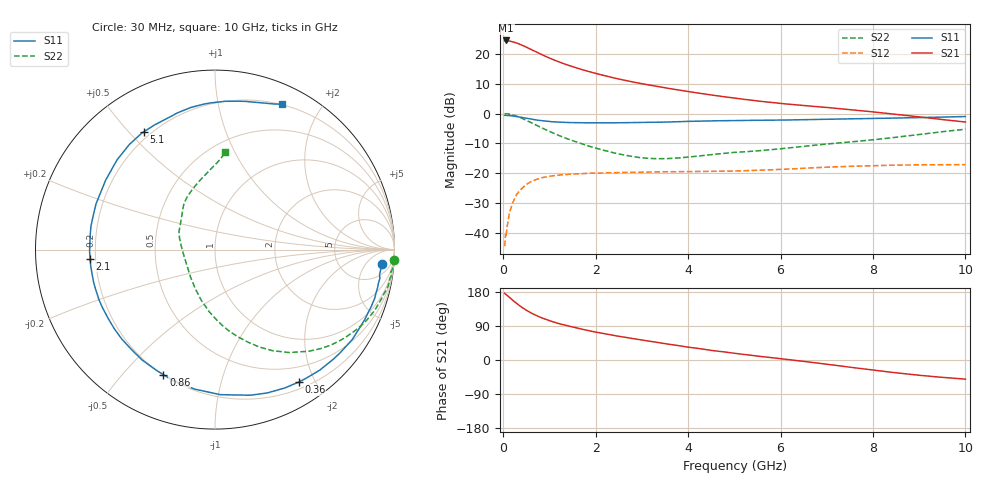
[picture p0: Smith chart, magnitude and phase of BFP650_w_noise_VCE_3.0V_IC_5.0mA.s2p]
! Infineon Technologies  Discrete & RF Semiconductors
! BFP650
! VCE =  3.0 V,  IC =  5.0 mA
! Common Emitter S-Parameters:  Jan 2016
# GHz  S  MA  R  50
!  f  S11  S21  S12  S22
! GHz  MAG  ANG  MAG  ANG  MAG  ANG  MAG  ANG
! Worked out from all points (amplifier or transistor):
!   229 points, 30 MHz to 10 GHz, reference 50 ohm
!   highest |S21| = 24.4 dB at 60 MHz (marker M1)
!   |S21| within 3 dB of that: start of sweep to 601.4 MHz
!   unconditionally stable (mu >= 1): 4.144 GHz to end of sweep
!   at 280 MHz: K = 0.06, MSG = 25.5 dB, |S12| = -27.4 dB
!   at 1.78 GHz: K = 0.50, MSG = 17.2 dB, |S12| = -20.0 dB
!   at 10 GHz: K = 1.09, MAG = 5.3 dB, |S12| = -17.1 dB
!   lowest NFmin = 0.58 dB at 450 MHz
!   S11 on the Smith chart (normalised r, x): 30 MHz: 11, -14; 360 MHz: 0.29, -1.78; 860 MHz: 0.20, -0.65; 2.1 GHz: 0.18, -0.03; 5.1 GHz: 0.17, +0.55; 10 GHz: 0.20, +1.54
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0.03  0.9327 -4.9  16.47 176.2  0.0061 93.0  0.9962 -3.2
0.06  0.9323 -9.9  16.6 173.1  0.0087 109.0  0.9941 -6.3
0.14  0.9218 -23.5  16.25 164.6  0.0228 76.8  0.9727 -14.7
0.24  0.9034 -39.7  15.54 154.1  0.0372 69.7  0.932 -25.0
0.3  0.89 -48.9  14.97 148.3  0.0456 64.4  0.8988 -30.5
0.36  0.8731 -57.7  14.34 142.7  0.052 61.0  0.8623 -35.9
0.46  0.8462 -71.2  13.27 134.3  0.0619 53.3  0.7985 -44.0
0.6  0.8088 -87.9  11.77 124.2  0.0729 45.4  0.7082 -54.1
0.7  0.7855 -98.3  10.79 118.1  0.0785 40.5  0.6484 -60.3
0.86  0.7535 -112.4  9.423 110.0  0.0857 34.4  0.5636 -68.6
1  0.737 -123.3  8.436 103.7  0.0895 30.1  0.5031 -75.2
1.2  0.7198 -136.1  7.304 96.2  0.0937 24.9  0.431 -83.7
1.44  0.7069 -149.0  6.277 88.6  0.0969 20.0  0.3655 -92.5
1.7  0.7014 -160.9  5.425 81.4  0.0995 16.1  0.3109 -101.2
2.1  0.6974 -175.9  4.466 71.5  0.1016 11.4  0.2519 -114.3
2.64  0.7032 168.1  3.574 59.6  0.1039 6.9  0.2014 -133.5
3.4  0.7171 149.8  2.774 45.1  0.1064 2.3  0.1762 -163.2
4  0.7402 137.5  2.33 33.9  0.1072 -0.9  0.1876 175.4
5.1  0.7667 121.0  1.77 16.3  0.1102 -4.1  0.2267 151.4
6.8  0.7969 101.9  1.3 -8.1  0.1251 -9.7  0.2992 126.0
8.4  0.8378 80.7  0.988 -32.4  0.137 -19.9  0.3935 102.5
10  0.891 65.3  0.722 -50.5  0.1402 -29.1  0.5466 83.9
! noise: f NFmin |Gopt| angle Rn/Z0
0.45  0.58  0.3  34  0.16
0.9  0.6  0.29  65  0.15
1.9  0.87  0.34  137  0.07
2.4  1.01  0.35  156  0.07
3.5  1.44  0.3  -144  0.31
